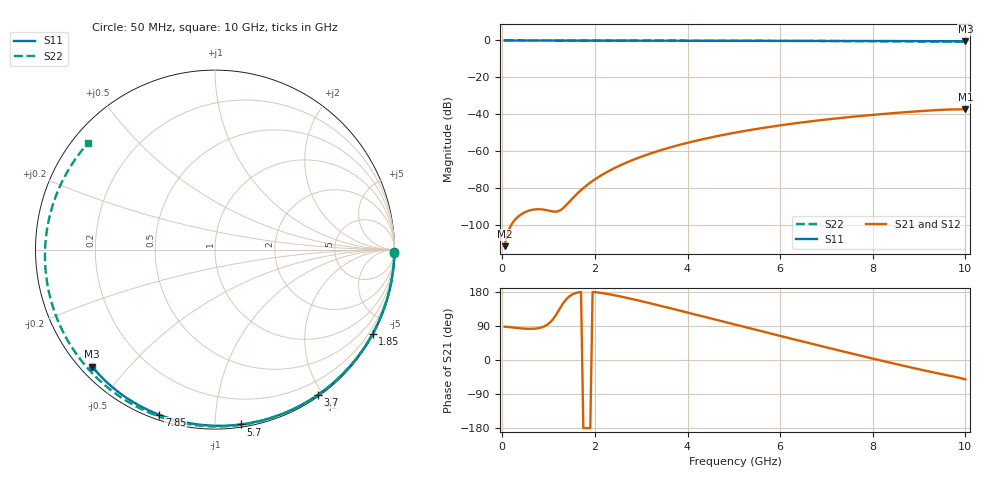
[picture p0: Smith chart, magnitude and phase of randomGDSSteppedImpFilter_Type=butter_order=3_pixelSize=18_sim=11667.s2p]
! freq	dB(S11)	phase(S11)	dB(S12)	phase(S12)
!  dB(S21)	phase(S21)	dB(S22)	phase(S22)
!S-par simulation data
#  GHz  S  DB  R 50
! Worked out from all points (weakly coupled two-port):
!   200 points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, 50 MHz to 10 GHz, reference 50 ohm
!   highest |S21| = -37.26 dB at 10 GHz (marker M1); lowest = -111.2 dB at 50 MHz (marker M2)
!   lowest |S11| = -0.5 dB at 10 GHz (marker M3), VSWR 35.50, Z = 1.63 - j20 ohm
!   |S11| at or under -10 dB: nowhere
!   |S22| runs from -0.7 to 0.0 dB; largest |S21 - S12| = 0
!   S11 on the Smith chart (normalised r, x): 50 MHz: open; 1.85 GHz: 0.03, -4.01; 3.7 GHz: 0.02, -1.93; 5.7 GHz: 0.02, -1.16; 7.85 GHz: 0.02, -0.72; 10 GHz: 0.03, -0.40
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0.05  -0.00 -0.8  -111.23 87.9  -111.23 87.9  -0.00 -1.1
0.85  -0.02 -13.0  -91.33 86.1  -91.33 86.1  -0.02 -19.0
1.3  -0.02 -19.8  -90.96 147.2  -90.96 147.2  -0.04 -29.0
1.75  -0.03 -26.5  -79.82 -179.9  -79.82 -179.9  -0.05 -38.8
1.85  -0.04 -28.0  -77.80 -179.7  -77.80 -179.7  -0.05 -41.0
2.15  -0.04 -32.4  -72.73 176.8  -72.73 176.8  -0.06 -47.4
2.5  -0.05 -37.6  -68.08 169.0  -68.08 169.0  -0.07 -54.9
2.9  -0.06 -43.4  -63.81 158.2  -63.81 158.2  -0.08 -63.3
3.4  -0.07 -50.5  -59.50 143.5  -59.50 143.5  -0.10 -73.7
3.7  -0.07 -54.7  -57.31 134.4  -57.31 134.4  -0.11 -79.8
4.35  -0.09 -63.7  -53.27 114.4  -53.27 114.4  -0.13 -93.0
5.05  -0.11 -73.1  -49.75 92.8  -49.75 92.8  -0.17 -106.9
5.7  -0.14 -81.7  -47.03 72.8  -47.03 72.8  -0.20 -119.8
6.2  -0.16 -88.1  -45.22 57.5  -45.22 57.5  -0.24 -129.8
6.7  -0.18 -94.4  -43.61 42.3  -43.61 42.3  -0.28 -140.0
7.3  -0.22 -101.9  -41.93 24.3  -41.93 24.3  -0.33 -152.5
7.85  -0.25 -108.6  -40.57 8.1  -40.57 8.1  -0.39 -164.5
8.35  -0.29 -114.8  -39.49 -6.4  -39.49 -6.4  -0.45 -175.9
8.8  -0.33 -120.3  -38.61 -19.1  -38.61 -19.1  -0.51 173.1
9.2  -0.38 -125.4  -37.92 -29.9  -37.92 -29.9  -0.57 162.8
9.6  -0.43 -130.6  -37.39 -40.0  -37.39 -40.0  -0.63 151.8
10  -0.49 -136.3  -37.26 -51.3  -37.26 -51.3  -0.70 139.9
